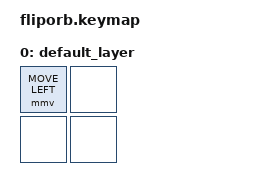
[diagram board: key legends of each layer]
#include <behaviors.dtsi>
#include <dt-bindings/zmk/keys.h>
#include <dt-bindings/zmk/kscan_mock.h>
#include <dt-bindings/zmk/mouse.h>

/ {
	keymap {
		compatible = "zmk,keymap";
		label ="Default keymap";

		default_layer {
			bindings = <
				&mmv MOVE_LEFT &none
				&none &none
			>;
		};
	};
};


&kscan {
	events = <
		
	>;
};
